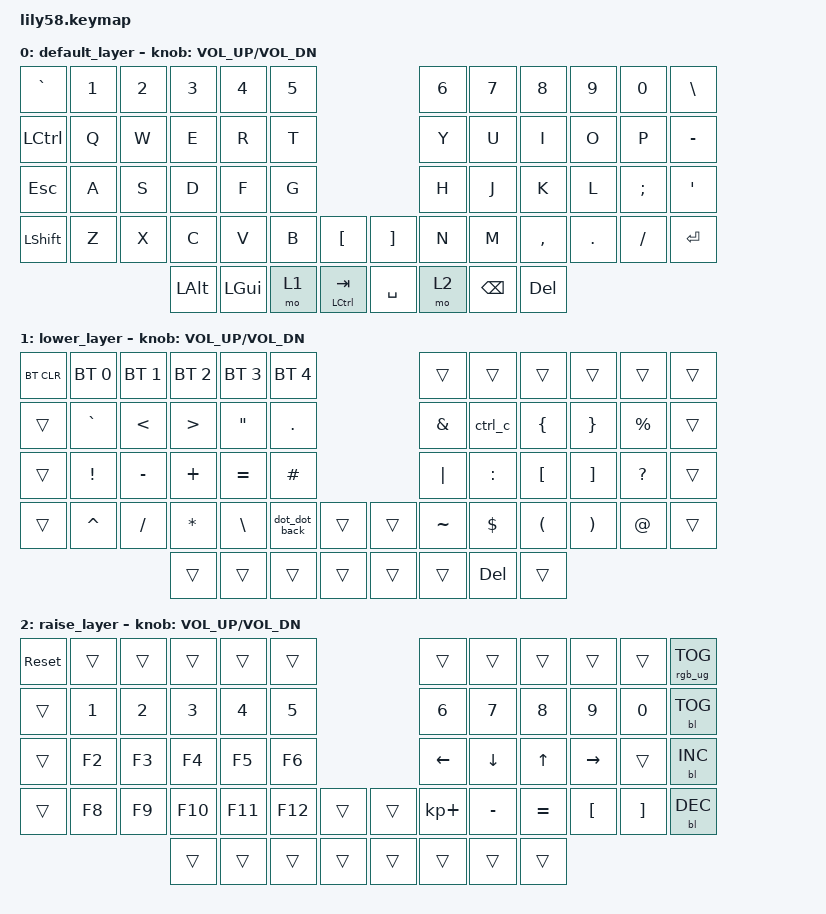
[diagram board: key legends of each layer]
/*
 * Copyright (c) 2020 The ZMK Contributors
 *
 * SPDX-License-Identifier: MIT
 */

#include <behaviors.dtsi>
#include <dt-bindings/zmk/backlight.h>
#include <dt-bindings/zmk/bt.h>
#include <dt-bindings/zmk/keys.h>
#include <dt-bindings/zmk/rgb.h>

/ {
    macros {
        dot_dot_back: dot_dot_back {
            compatible = "zmk,behavior-macro";
            #binding-cells = <0>;
            bindings = <&kp DOT &kp DOT &kp FSLH>;
            label = "DOT_DOT_BACK";
        };

        ctrl_c: ctrl_c {
            compatible = "zmk,behavior-macro";
            #binding-cells = <0>;
            bindings = <&kp LCTRL &kp C>;
            label = "CTRL_C";
        };
    };

    keymap {
        compatible = "zmk,keymap";

        default_layer {
            // ------------------------------------------------------------------------------------------------------------
            // |  ESC  |  1  |  2  |  3   |  4   |  5   |                   |  6   |  7    |  8    |  9   |   0   |   `   |
            // |  TAB  |  Q  |  W  |  E   |  R   |  T   |                   |  Y   |  U    |  I    |  O   |   P   |   -   |
            // |  CTRL |  A  |  S  |  D   |  F   |  G   |                   |  H   |  J    |  K    |  L   |   ;   |   '   |
            // | SHIFT |  Z  |  X  |  C   |  V   |  B   |   "["  |  |  "]"  |  N   |  M    |  ,    |  .   |   /   | SHIFT |
            //                     | ALT  | GUI  | LOWER|  SPACE |  | ENTER | RAISE| BSPC  | GUI   |

            bindings = <
&kp GRAVE   &kp N1  &kp N2  &kp N3    &kp N4    &kp N5                              &kp N6  &kp N7    &kp N8     &kp N9   &kp N0    &kp BACKSLASH
&kp LCTRL   &kp Q   &kp W   &kp E     &kp R     &kp T                               &kp Y   &kp U     &kp I      &kp O    &kp P     &kp MINUS
&kp ESCAPE  &kp A   &kp S   &kp D     &kp F     &kp G                               &kp H   &kp J     &kp K      &kp L    &kp SEMI  &kp SQT
&kp LSHFT   &kp Z   &kp X   &kp C     &kp V     &kp B   &kp LBKT         &kp RBKT   &kp N   &kp M     &kp COMMA  &kp DOT  &kp FSLH  &kp ENTER
                            &kp LALT  &kp LGUI  &mo 1   &mt LCTRL TAB    &kp SPACE  &mo 2   &kp BSPC  &kp DEL
            >;

            sensor-bindings = <&inc_dec_kp C_VOL_UP C_VOL_DN>;
        };

        lower_layer {
            // ------------------------------------------------------------------------------------------------------------
            // | BTCLR | BT1 | BT2 |  BT3 |  BT4 |  BT5 |                   |      |       |       |      |       |       |
            // |  F1   |  F2 |  F3 |  F4  |  F5  |  F6  |                   |  F7  |  F8   |  F9   |  F10 |  F11  |  F12  |
            // |   `   |  !  |  @  |  #   |  $   |  %   |                   |  ^   |  &    |  *    |  (   |   )   |   ~   |
            // |       |     |     |      |      |      |        |  |       |      |  _    |  +    |  {   |   }   |  "|"  |
            //                     |      |      |      |        |  |       |      |       |       |

            bindings = <
&bt BT_CLR  &bt BT_SEL 0  &bt BT_SEL 1  &bt BT_SEL 2  &bt BT_SEL 3       &bt BT_SEL 4                     &trans     &trans      &trans    &trans    &trans        &trans
&trans      &kp GRAVE     &kp LT        &kp GT        &kp DOUBLE_QUOTES  &kp DOT                          &kp AMPS   &ctrl_c     &kp LBRC  &kp RBRC  &kp PERCENT   &trans
&trans      &kp EXCL      &kp MINUS     &kp PLUS      &kp EQUAL          &kp HASH                         &kp PIPE   &kp COLON   &kp LBKT  &kp RBKT  &kp QUESTION  &trans
&trans      &kp CARET     &kp SLASH     &kp STAR      &kp BACKSLASH      &dot_dot_back  &trans    &trans  &kp TILDE  &kp DOLLAR  &kp LPAR  &kp RPAR  &kp AT        &trans
                                        &trans        &trans             &trans         &trans    &trans  &trans     &kp DEL     &trans
            >;

            sensor-bindings = <&inc_dec_kp C_VOL_UP C_VOL_DN>;
        };

        raise_layer {
            // ------------------------------------------------------------------------------------------------------------
            // |       |     |     |      |      |      |                   |      |       |       |      |       |       |
            // |   `   |  1  |  2  |  3   |  4   |  5   |                   |  6   |   7   |   8   |  9   |   0   |       |
            // |   F1  |  F2 |  F3 |  F4  |  F5  |  F6  |                   |      |   <-  |   v   |  ^   |  ->   |       |
            // |   F7  |  F8 |  F9 |  F10 |  F11 |  F12 |        |  |       |  +   |   -   |   =   |  [   |   ]   |   \   |
            //                     |      |      |      |        |  |       |      |       |       |

            bindings = <
&sys_reset  &trans  &trans  &trans   &trans   &trans                     &trans          &trans     &trans        &trans     &trans    &rgb_ug RGB_TOG
&trans      &kp N1  &kp N2  &kp N3   &kp N4   &kp N5                     &kp N6          &kp N7     &kp N8        &kp N9     &kp N0    &bl BL_TOG
&trans      &kp F2  &kp F3  &kp F4   &kp F5   &kp F6                     &kp LEFT_ARROW  &kp DOWN   &kp UP_ARROW  &kp RIGHT  &trans    &bl BL_INC
&trans      &kp F8  &kp F9  &kp F10  &kp F11  &kp F12  &trans    &trans  &kp KP_PLUS     &kp MINUS  &kp EQUAL     &kp LBKT   &kp RBKT  &bl BL_DEC
                            &trans   &trans   &trans   &trans    &trans  &trans          &trans     &trans
            >;

            sensor-bindings = <&inc_dec_kp C_VOL_UP C_VOL_DN>;
        };
    };
};

/* BS Corne bodge */

&nice_view_spi { cs-gpios = <&pro_micro 4 GPIO_ACTIVE_HIGH>; };
